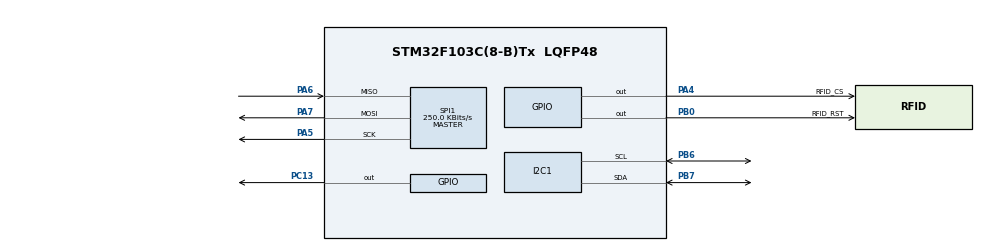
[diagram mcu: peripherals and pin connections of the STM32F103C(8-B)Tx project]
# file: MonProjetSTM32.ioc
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Mcu.Family=STM32F1
Mcu.Name=STM32F103C(8-B)Tx
Mcu.Package=LQFP48
NVIC.PriorityGroup=NVIC_PRIORITYGROUP_4
PA13.Mode=Serial_Wire
PA13.Signal=SYS_JTMS-SWDIO
PA14.Mode=Serial_Wire
PA14.Signal=SYS_JTCK-SWCLK
PA4.GPIO_Label=RFID_CS
PA4.Signal=GPIO_Output
PA5.Mode=Full_Duplex_Master
PA5.Signal=SPI1_SCK
PA6.Mode=Full_Duplex_Master
PA6.Signal=SPI1_MISO
PA7.Mode=Full_Duplex_Master
PA7.Signal=SPI1_MOSI
PB0.GPIO_Label=RFID_RST
PB0.Signal=GPIO_Output
PB6.Mode=I2C
PB6.Signal=I2C1_SCL
PB7.Mode=I2C
PB7.Signal=I2C1_SDA
PC13-TAMPER-RTC.Signal=GPIO_Output
ProjectManager.HeapSize=0x200
ProjectManager.StackSize=0x400
ProjectManager.TargetToolchain=CMake
RCC.APB1Freq_Value=8000000
RCC.APB2Freq_Value=8000000
SPI1.BaudRatePrescaler=SPI_BAUDRATEPRESCALER_32
SPI1.CalculateBaudRate=250.0 KBits/s
SPI1.Direction=SPI_DIRECTION_2LINES
SPI1.Mode=SPI_MODE_MASTER
SPI1.VirtualType=VM_MASTER
board=custom

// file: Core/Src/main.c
/* USER CODE BEGIN Header */
/**
  ******************************************************************************
  * @file           : main.c
  * @brief          : Main program body
  ******************************************************************************
  * @attention
  *
  * Copyright (c) 2026 STMicroelectronics.
  * All rights reserved.
  *
  * This software is licensed under terms that can be found in the LICENSE file
  * in the root directory of this software component.
  * If no LICENSE file comes with this software, it is provided AS-IS.
  *
  ******************************************************************************
  */
/* USER CODE END Header */
#include "main.h"

/* USER CODE BEGIN Includes */
#include <stdio.h>
#include "rc522.h"
#include "ssd1306.h"
/* USER CODE END Includes */

I2C_HandleTypeDef hi2c1;

SPI_HandleTypeDef hspi1;

/* USER CODE BEGIN PV */
volatile uint8_t mon_adresse_ecran = 0; // Stockera l'adresse I2C trouvée (ex: 0x27)
volatile uint8_t ma_version_rfid = 0;   // Stockera la version du module RFID
/* USER CODE END PV */

void SystemClock_Config(void);
static void MX_GPIO_Init(void);
static void MX_SPI1_Init(void);
static void MX_I2C1_Init(void);

/* USER CODE BEGIN 0 */
void I2C_Scanner() {
    // On scanne de l'adresse 1 à 127
    for (uint16_t i = 1; i < 128; i++) {
        // Le STM32 attend l'adresse décalée de 1 bit vers la gauche (<< 1)
        if (HAL_I2C_IsDeviceReady(&hi2c1, (uint16_t)(i << 1), 3, 5) == HAL_OK) {
            mon_adresse_ecran = i; // BINGO ! On sauvegarde l'adresse
            break; // On arrête de chercher, on a trouvé l'écran
        }
    }
}
/* USER CODE END 0 */

int main(void)
{

  /* MCU Configuration--------------------------------------------------------*/

  /* Reset of all peripherals, Initializes the Flash interface and the Systick. */
  HAL_Init();

  /* Configure the system clock */
  SystemClock_Config();

  /* Initialize all configured peripherals */
  MX_GPIO_Init();
  MX_SPI1_Init();
  MX_I2C1_Init();
  /* USER CODE BEGIN 2 */
  MFRC522_Init();
  SSD1306_Init();

  // Message d'accueil (Avec les caractères qu'on a : 0-9 A-F)
  SSD1306_WriteString("ATTENTE CARTE", 25, 0, 1);
  SSD1306_UpdateScreen();
  /* USER CODE END 2 */

  /* Infinite loop */
  /* USER CODE BEGIN WHILE */
  uint8_t status;
  uint8_t str[MAX_LEN]; // Buffer pour l'ID
  char displayBuffer[20]; // Buffer pour le texte
  while (1)
  {
    // 1. Demande si une carte est proche
    status = MFRC522_Request(PICC_REQIDL, str);

    if (status == MI_OK) {
        // 2. Si oui, lire son numéro de série (AntiCollision)
        status = MFRC522_Anticoll(str);

        if (status == MI_OK) {
            // 3. Formater l'ID en texte (ex: "A3 F2 12 05")
            sprintf(displayBuffer, "%02X %02X %02X %02X", str[0], str[1], str[2], str[3]);

            // 4. Afficher sur l'écran
            SSD1306_Fill(0);

            // Affiche "CARTE:" sur la ligne 2
            SSD1306_WriteString("CARTE", 0, 2, 1);

            // Affiche l'ID sur la ligne 4 (au milieu)
            SSD1306_WriteString(displayBuffer, 10, 4, 1);

            SSD1306_UpdateScreen();

            HAL_GPIO_TogglePin(GPIOC, GPIO_PIN_13); // Flash LED
            HAL_Delay(1000); // Pause pour éviter de lire 50 fois la même
        }
    }
    HAL_Delay(50);
    /* USER CODE END WHILE */

  }
}

void SystemClock_Config(void)
{
  RCC_OscInitTypeDef RCC_OscInitStruct = {0};
  RCC_ClkInitTypeDef RCC_ClkInitStruct = {0};

  /** Initializes the RCC Oscillators according to the specified parameters
  * in the RCC_OscInitTypeDef structure.
  */
  RCC_OscInitStruct.OscillatorType = RCC_OSCILLATORTYPE_HSI;
  RCC_OscInitStruct.HSIState = RCC_HSI_ON;
  RCC_OscInitStruct.HSICalibrationValue = RCC_HSICALIBRATION_DEFAULT;
  RCC_OscInitStruct.PLL.PLLState = RCC_PLL_NONE;
  if (HAL_RCC_OscConfig(&RCC_OscInitStruct) != HAL_OK)
  {
    Error_Handler();
  }

  /** Initializes the CPU, AHB and APB buses clocks
  */
  RCC_ClkInitStruct.ClockType = RCC_CLOCKTYPE_HCLK|RCC_CLOCKTYPE_SYSCLK
                              |RCC_CLOCKTYPE_PCLK1|RCC_CLOCKTYPE_PCLK2;
  RCC_ClkInitStruct.SYSCLKSource = RCC_SYSCLKSOURCE_HSI;
  RCC_ClkInitStruct.AHBCLKDivider = RCC_SYSCLK_DIV1;
  RCC_ClkInitStruct.APB1CLKDivider = RCC_HCLK_DIV1;
  RCC_ClkInitStruct.APB2CLKDivider = RCC_HCLK_DIV1;

  if (HAL_RCC_ClockConfig(&RCC_ClkInitStruct, FLASH_LATENCY_0) != HAL_OK)
  {
    Error_Handler();
  }
}

static void MX_I2C1_Init(void)
{

  hi2c1.Instance = I2C1;
  hi2c1.Init.ClockSpeed = 100000;
  hi2c1.Init.DutyCycle = I2C_DUTYCYCLE_2;
  hi2c1.Init.OwnAddress1 = 0;
  hi2c1.Init.AddressingMode = I2C_ADDRESSINGMODE_7BIT;
  hi2c1.Init.DualAddressMode = I2C_DUALADDRESS_DISABLE;
  hi2c1.Init.OwnAddress2 = 0;
  hi2c1.Init.GeneralCallMode = I2C_GENERALCALL_DISABLE;
  hi2c1.Init.NoStretchMode = I2C_NOSTRETCH_DISABLE;
  if (HAL_I2C_Init(&hi2c1) != HAL_OK)
  {
    Error_Handler();
  }

}

static void MX_SPI1_Init(void)
{

  /* SPI1 parameter configuration*/
  hspi1.Instance = SPI1;
  hspi1.Init.Mode = SPI_MODE_MASTER;
  hspi1.Init.Direction = SPI_DIRECTION_2LINES;
  hspi1.Init.DataSize = SPI_DATASIZE_8BIT;
  hspi1.Init.CLKPolarity = SPI_POLARITY_LOW;
  hspi1.Init.CLKPhase = SPI_PHASE_1EDGE;
  hspi1.Init.NSS = SPI_NSS_SOFT;
  hspi1.Init.BaudRatePrescaler = SPI_BAUDRATEPRESCALER_32;
  hspi1.Init.FirstBit = SPI_FIRSTBIT_MSB;
  hspi1.Init.TIMode = SPI_TIMODE_DISABLE;
  hspi1.Init.CRCCalculation = SPI_CRCCALCULATION_DISABLE;
  hspi1.Init.CRCPolynomial = 10;
  if (HAL_SPI_Init(&hspi1) != HAL_OK)
  {
    Error_Handler();
  }

}

static void MX_GPIO_Init(void)
{
  GPIO_InitTypeDef GPIO_InitStruct = {0};

  /* GPIO Ports Clock Enable */
  __HAL_RCC_GPIOC_CLK_ENABLE();
  __HAL_RCC_GPIOA_CLK_ENABLE();
  __HAL_RCC_GPIOB_CLK_ENABLE();

  /*Configure GPIO pin Output Level */
  HAL_GPIO_WritePin(GPIOC, GPIO_PIN_13, GPIO_PIN_RESET);

  /*Configure GPIO pin Output Level */
  HAL_GPIO_WritePin(RFID_CS_GPIO_Port, RFID_CS_Pin, GPIO_PIN_RESET);

  /*Configure GPIO pin Output Level */
  HAL_GPIO_WritePin(RFID_RST_GPIO_Port, RFID_RST_Pin, GPIO_PIN_RESET);

  /*Configure GPIO pin : PC13 */
  GPIO_InitStruct.Pin = GPIO_PIN_13;
  GPIO_InitStruct.Mode = GPIO_MODE_OUTPUT_PP;
  GPIO_InitStruct.Pull = GPIO_NOPULL;
  GPIO_InitStruct.Speed = GPIO_SPEED_FREQ_LOW;
  HAL_GPIO_Init(GPIOC, &GPIO_InitStruct);

  /*Configure GPIO pin : RFID_CS_Pin */
  GPIO_InitStruct.Pin = RFID_CS_Pin;
  GPIO_InitStruct.Mode = GPIO_MODE_OUTPUT_PP;
  GPIO_InitStruct.Pull = GPIO_NOPULL;
  GPIO_InitStruct.Speed = GPIO_SPEED_FREQ_LOW;
  HAL_GPIO_Init(RFID_CS_GPIO_Port, &GPIO_InitStruct);

  /*Configure GPIO pin : RFID_RST_Pin */
  GPIO_InitStruct.Pin = RFID_RST_Pin;
  GPIO_InitStruct.Mode = GPIO_MODE_OUTPUT_PP;
  GPIO_InitStruct.Pull = GPIO_NOPULL;
  GPIO_InitStruct.Speed = GPIO_SPEED_FREQ_LOW;
  HAL_GPIO_Init(RFID_RST_GPIO_Port, &GPIO_InitStruct);

}

void Error_Handler(void)
{
  __disable_irq();
  while (1)
  {
  }
}
